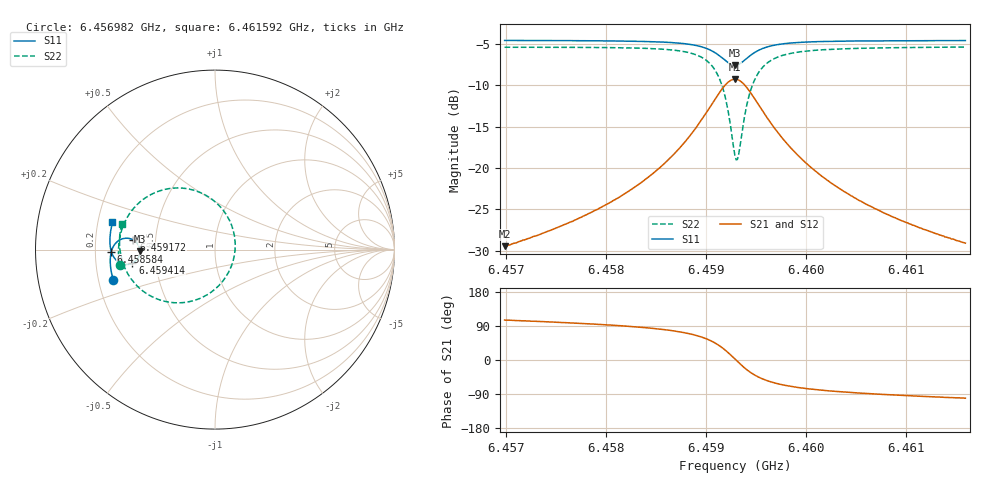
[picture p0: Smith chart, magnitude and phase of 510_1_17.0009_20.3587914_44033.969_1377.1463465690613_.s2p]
#  HZ  S  RI  R  50.00
! Rohde & Schwarz Vector Network Analyzer
! Rohde-Schwarz,ZNB20-2Port,1311601062101988,3.16
! Created: UTC 3/20/2024, 11:14:57 PM
! freq[Hz]  re:S11  im:S11  re:S21  im:S21  re:S12  im:S12  re:S22  im:S22
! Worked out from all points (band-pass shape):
!   401 points, 6.456982 GHz to 6.461592 GHz, reference 50 ohm
!   highest |S21| = -9.24 dB at 6.459287 GHz (marker M1); lowest = -29.5 dB at 6.456982 GHz (marker M2)
!   |S21| within 3 dB of the highest: 6.459057 GHz to 6.459517 GHz (460.5 kHz wide, 0.00713 % of centre)
!   lowest |S11| = -7.6 dB at 6.459287 GHz (marker M3), VSWR 2.44, Z = 20.5 - j0.484 ohm
!   |S11| at or under -10 dB: nowhere
!   |S22| runs from -19.0 to -5.4 dB; largest |S21 - S12| = 0.013
!   S11 on the Smith chart (normalised r, x): 6.456982 GHz: 0.26, -0.14; 6.458584 GHz: 0.27, -0.01; 6.459172 GHz: 0.37, +0.05; 6.459414 GHz: 0.37, -0.07; 6.461592 GHz: 0.26, +0.12
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6.4569819e9  -0.5668 -0.1719  -0.00889 0.0325  -0.00714 0.0323  -0.532 -0.0846
6.457754e9  -0.5807 -0.1044  -0.00561 0.0502  -0.00305 0.0496  -0.5374 0.0057
6.4581343e9  -0.5837 -0.0666  -0.000643 0.067  0.00256 0.0659  -0.5311 0.0648
6.4585262e9  -0.5799 -0.0204  0.0143 0.0985  0.018 0.0958  -0.5039 0.1509
6.4585838e9  -0.5781 -0.0125  0.0186 0.1055  0.0225 0.1023  -0.4958 0.1676
6.4587913e9  -0.5651 0.0196  0.046 0.1378  0.0501 0.1329  -0.4443 0.2402
6.4589411e9  -0.5425 0.0459  0.0913 0.1682  0.0944 0.1615  -0.3609 0.3046
6.4590794e9  -0.4987 0.0634  0.1783 0.1849  0.1792 0.1773  -0.2017 0.3435
6.4591716e9  -0.4542 0.0533  0.2682 0.1536  0.2684 0.1477  -0.0351 0.2932
6.4592407e9  -0.4252 0.0212  0.3286 0.0816  0.3308 0.0763  0.0805 0.1637
6.4592868e9  -0.4183 -0.00973  0.3451 0.0138  0.3486 0.00684  0.1126 0.0367
6.4592984e9  -0.4188 -0.0179  0.3447 -0.00388  0.3485 -0.0116  0.1122 0.00309
6.4593214e9  -0.4223 -0.0334  0.3392 -0.0386  0.343 -0.0478  0.101 -0.063
6.4593675e9  -0.438 -0.0593  0.3104 -0.0986  0.3125 -0.1104  0.0431 -0.176
6.4594136e9  -0.46 -0.0756  0.2682 -0.1394  0.2675 -0.1527  -0.0421 -0.2505
6.4595058e9  -0.5033 -0.0823  0.1835 -0.1705  0.1774 -0.1819  -0.2109 -0.2966
6.4596556e9  -0.547 -0.0617  0.0959 -0.1565  0.0874 -0.1627  -0.3783 -0.2469
6.459817e9  -0.5684 -0.034  0.0512 -0.1286  0.0435 -0.1312  -0.4587 -0.1747
6.460059e9  -0.5811 0.00153  0.0222 -0.0969  0.0163 -0.0976  -0.5064 -0.0924
6.4604047e9  -0.5856 0.0426  0.00613 -0.0703  0.00217 -0.0698  -0.5278 -0.0131
6.4608311e9  -0.5834 0.0855  -0.00147 -0.0517  -0.00433 -0.0509  -0.532 0.0552
6.4615918e9  -0.5712 0.1526  -0.00661 -0.0345  -0.00827 -0.0335  -0.5202 0.1448
